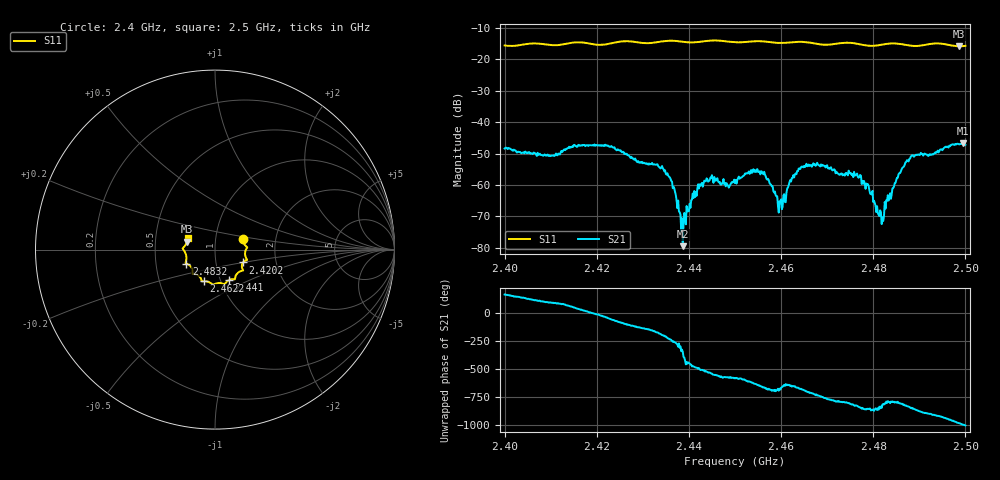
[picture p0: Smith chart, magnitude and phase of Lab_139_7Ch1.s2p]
# Hz S RI R 50
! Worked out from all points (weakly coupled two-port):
!   601 points, 2.4 GHz to 2.5 GHz, reference 50 ohm
!   highest |S21| = -46.69 dB at 2.4995 GHz (marker M1); lowest = -79.5 dB at 2.4387 GHz (marker M2)
!   lowest |S11| = -15.8 dB at 2.4987 GHz (marker M3), VSWR 1.39, Z = 36.4 + j3.32 ohm
!   |S11| at or under -10 dB: start of sweep to end of sweep
!   S12 and S22 are empty: the file has one direction only
!   S11 on the Smith chart (normalised r, x): 2.4 GHz: 1.36, +0.17; 2.4202 GHz: 1.35, -0.20; 2.441 GHz: 1.09, -0.39; 2.4622 GHz: 0.83, -0.30; 2.4832 GHz: 0.72, -0.12; 2.5 GHz: 0.73, +0.09
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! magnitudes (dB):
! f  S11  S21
! 2.4 GHz  -15.5  -48.4
! 2.4103 GHz  -15.5  -50.6
! 2.4167 GHz  -14.6  -47.4
! 2.4202 GHz  -15.3  -47.4
! 2.4333 GHz  -14.4  -54.0
! 2.4358 GHz  -14.0  -57.5
! 2.4387 GHz  -14.4  -79.5
! 2.441 GHz  -14.6  -64.2
! 2.4445 GHz  -14.0  -58.5
! 2.45 GHz  -14.5  -59.4
! 2.4562 GHz  -14.2  -56.6
! 2.4598 GHz  -14.7  -65.1
! 2.4622 GHz  -14.5  -58.9
! 2.4667 GHz  -14.7  -54.2
! 2.4768 GHz  -15.1  -57.7
! 2.4817 GHz  -15.3  -68.7
! 2.4832 GHz  -15.0  -63.3
! 2.4833 GHz  -15.0  -65.0
! 2.4883 GHz  -15.6  -50.7
! 2.4987 GHz  -15.8  -47.1
! 2.4995 GHz  -15.8  -46.7
! 2.5 GHz  -15.6  -47.2
